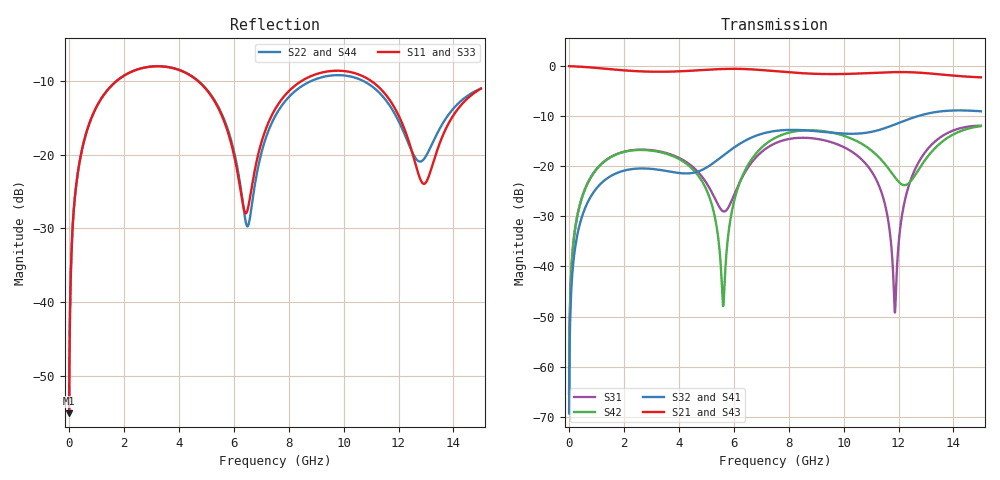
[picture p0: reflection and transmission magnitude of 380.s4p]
! Created with skrf 1.8.0 (http://scikit-rf.org).
# GHz S RI R 50.0
!freq ReS11 ImS11 ReS12 ImS12 ReS13 ImS13
! ReS14 ImS14
! ReS21 ImS21 ReS22 ImS22 ReS23 ImS23
! ReS24 ImS24
! ReS31 ImS31 ReS32 ImS32 ReS33 ImS33
! ReS34 ImS34
! ReS41 ImS41 ReS42 ImS42 ReS43 ImS43
! ReS44 ImS44
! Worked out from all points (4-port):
!   2499 points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, 5 MHz to 15 GHz, reference 50 ohm
!   strongest paths, dB at 5 MHz, 3.476 GHz, 7.19 GHz, 11.1 GHz, 15 GHz:
!     S21: 0.0, -1.1, -0.9, -1.3, -2.2
!     S43: 0.0, -1.1, -0.9, -1.3, -2.2
!     S32: -69.3, -20.9, -13.3, -13.0, -9.0
!     S41: -69.3, -20.9, -13.3, -13.0, -9.0
!     S42: -65.4, -17.4, -15.4, -17.2, -12.0
!     S31: -65.4, -17.2, -16.4, -21.7, -11.9
!   lowest |S11| = -55.1 dB at 5 MHz (marker M1), VSWR 1.00, Z = 50.1 + j0.107 ohm
!   |S11| at or under -10 dB: start of sweep to 1.738 GHz; 4.691 GHz to 8.476 GHz (3.785 GHz wide, 57.5 % of centre); 11 GHz to end of sweep
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0.005  0.00139 0.00106  0.9986 -0.00271  6.85e-05 0.000531  -6.67e-05 -0.000336
       0.9986 -0.00271  0.00139 0.00106  -6.67e-05 -0.000336  6.85e-05 0.000531
       6.85e-05 0.000531  -6.67e-05 -0.000336  0.00139 0.00106  0.9986 -0.00271
       -6.67e-05 -0.000336  6.85e-05 0.000531  0.9986 -0.00271  0.00139 0.00106
1.519383  0.2156 0.1935  0.6599 -0.6564  0.1023 0.0694  -0.0765 -0.0229
          0.6599 -0.6564  0.2159 0.1933  -0.0765 -0.0229  0.1011 0.0707
          0.1023 0.0694  -0.0765 -0.0229  0.2156 0.1935  0.6598 -0.6564
          -0.0765 -0.0229  0.1011 0.0707  0.6598 -0.6564  0.216 0.1933
5.61484  0.0984 -0.1444  -0.8244 -0.4434  -0.0309 -0.0176  -0.0572 0.1145
         -0.8244 -0.4434  0.0958 -0.1518  -0.0566 0.1148  0.00391 0.000921
         -0.0309 -0.0176  -0.0566 0.1148  0.0995 -0.1453  -0.8241 -0.4434
         -0.0572 0.1145  0.00391 0.000921  -0.8241 -0.4434  0.096 -0.1531
6.465194  0.0402 0.00188  -0.9322 -0.0474  -0.0243 0.089  -0.00543 0.1831
          -0.9322 -0.0474  0.0319 -0.00915  -0.00459 0.1831  0.0299 0.0923
          -0.0243 0.089  -0.00459 0.1831  0.041 0.000481  -0.9322 -0.0474
          -0.00543 0.1831  0.0299 0.0923  -0.9322 -0.0474  0.0315 -0.0104
10.51063  0.3306 -0.1203  0.193 0.8203  0.1141 -0.056  0.1869 -0.0988
          0.193 0.8203  0.3175 -0.0826  0.1865 -0.1006  0.1013 -0.1449
          0.1141 -0.056  0.1865 -0.1006  0.3314 -0.1207  0.1943 0.8195
          0.1869 -0.0988  0.1013 -0.1449  0.1943 0.8195  0.3185 -0.0842
11.86744  0.1356 -0.1552  0.6749 0.5511  -0.00299 -0.00175  0.1593 -0.2073
          0.6749 0.5511  0.1483 -0.1164  0.1572 -0.2088  -0.0516 -0.0583
          -0.00299 -0.00175  0.1572 -0.2088  0.1377 -0.156  0.6757 0.5494
          0.1593 -0.2073  -0.0516 -0.0583  0.6757 0.5494  0.1479 -0.1191
15  0.2659 0.0878  0.5328 -0.5597  0.2446 0.0693  -0.3088 -0.1727
    0.5328 -0.5597  0.2703 0.0764  -0.3107 -0.17  0.2461 0.0524
    0.2446 0.0693  -0.3107 -0.17  0.2678 0.0861  0.5291 -0.5621
    -0.3088 -0.1727  0.2461 0.0524  0.5291 -0.5621  0.2724 0.0768
